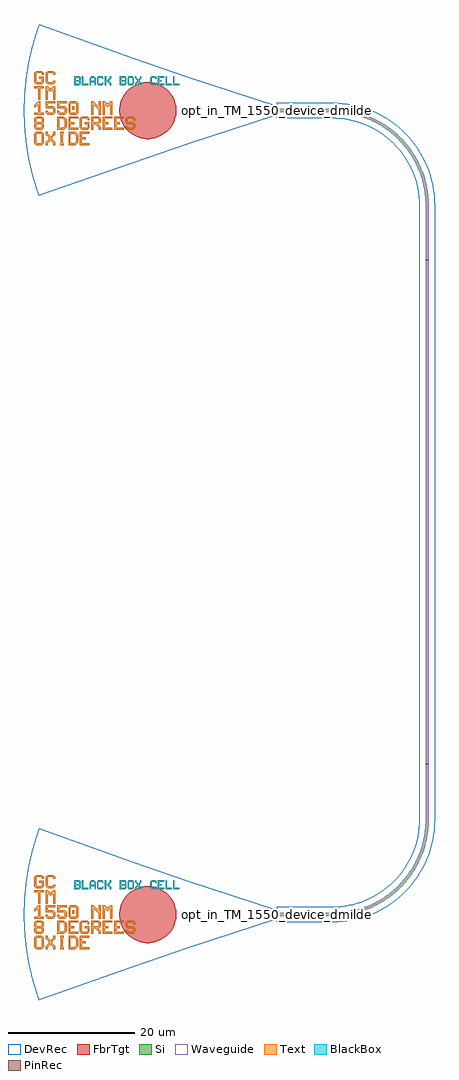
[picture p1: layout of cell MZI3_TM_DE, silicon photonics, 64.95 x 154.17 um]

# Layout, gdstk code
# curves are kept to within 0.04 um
import gdstk
lib = gdstk.Library(unit=1e-6, precision=1e-09)
def R(c, l, rs):  # rectangles x0, y0, x1, y1
    for r in rs: c.add(gdstk.rectangle(r[:2], r[2:], *l))
def P(c, l, *ps):  # polygons
    for p in ps: c.add(gdstk.Polygon(p, *l))
Si = (1, 0)
PinRec = (1, 10)
Waveguide = (1, 99)
Text = (10, 0)
DevRec = (68, 0)
FbrTgt = (81, 0)
BlackBox = (998, 0)

text = lib.new_cell('TEXT')
P(text, BlackBox, [(0,0),(0,1.4),(0.8,1.4),(1,1.2),(0.2,1.2),(0.2,0.8),(0.7,0.8),(0.8,0.9),(0.8,1.1),(0.7,1.2),(1,1.2),(1,0.8),(0.9,0.7),(1,0.6),(0.2,0.6),(0.2,0.2),(0.7,0.2),(0.8,0.3),(0.8,0.5),(0.7,0.6),(1,0.6),(1,0.2),(0.8,0)],
  [(1.2,0),(1.2,1.4),(1.4,1.4),(1.4,0.2),(2.2,0.2),(2.2,0)],
  [(2.4,0),(2.4,1.1),(2.7,1.4),(3.1,1.4),(3.3,1.2),(2.8,1.2),(2.6,1),(2.6,0.7),(3.2,0.7),(3.2,1),(3,1.2),(3.3,1.2),(3.4,1.1),(3.4,0),(3.2,0),(3.2,0.5),(2.6,0.5),(2.6,0)],
  [(3.8,0),(3.6,0.2),(3.6,1.2),(3.8,1.4),(4.4,1.4),(4.6,1.2),(4.6,1),(4.4,1),(4.4,1.1),(4.3,1.2),(3.9,1.2),(3.8,1.1),(3.8,0.3),(3.9,0.2),(4.3,0.2),(4.4,0.3),(4.4,0.4),(4.6,0.4),(4.6,0.2),(4.4,0)],
  [(4.8,0),(4.8,1.4),(5,1.4),(5,0.8),(5.2,0.8),(5.6,1.2),(5.6,1.4),(5.8,1.4),(5.8,1.1),(5.4,0.7),(5.8,0.3),(5.8,0),(5.6,0),(5.6,0.2),(5.2,0.6),(5,0.6),(5,0)],
  [(7.2,0),(7.2,1.4),(8,1.4),(8.2,1.2),(7.4,1.2),(7.4,0.8),(7.9,0.8),(8,0.9),(8,1.1),(7.9,1.2),(8.2,1.2),(8.2,0.8),(8.1,0.7),(8.2,0.6),(7.4,0.6),(7.4,0.2),(7.9,0.2),(8,0.3),(8,0.5),(7.9,0.6),(8.2,0.6),(8.2,0.2),(8,0)],
  [(8.6,0),(8.4,0.2),(8.4,1.2),(8.6,1.4),(9.2,1.4),(9.4,1.2),(9.4,0.7),(9.2,0.7),(9.2,1.1),(9.1,1.2),(8.7,1.2),(8.6,1.1),(8.6,0.3),(8.7,0.2),(9.1,0.2),(9.2,0.3),(9.2,0.7),(9.4,0.7),(9.4,0.2),(9.2,0)],
  [(9.6,0),(9.6,0.3),(9.9,0.6),(9.9,0.8),(9.6,1.1),(9.6,1.4),(9.8,1.4),(9.8,1.2),(10.1,0.9),(10.4,1.2),(10.4,1.4),(10.6,1.4),(10.6,1.1),(10.3,0.8),(10.3,0.6),(10.6,0.3),(10.6,0),(10.4,0),(10.4,0.2),(10.1,0.5),(9.8,0.2),(9.8,0)],
  [(12.2,0),(12,0.2),(12,1.2),(12.2,1.4),(12.8,1.4),(13,1.2),(13,1),(12.8,1),(12.8,1.1),(12.7,1.2),(12.3,1.2),(12.2,1.1),(12.2,0.3),(12.3,0.2),(12.7,0.2),(12.8,0.3),(12.8,0.4),(13,0.4),(13,0.2),(12.8,0)],
  [(13.2,0),(13.2,1.4),(14.2,1.4),(14.2,1.2),(13.4,1.2),(13.4,0.8),(13.8,0.8),(13.8,0.6),(13.4,0.6),(13.4,0.2),(14.2,0.2),(14.2,0)],
  [(14.4,0),(14.4,1.4),(14.6,1.4),(14.6,0.2),(15.4,0.2),(15.4,0)],
  [(15.6,0),(15.6,1.4),(15.8,1.4),(15.8,0.2),(16.6,0.2),(16.6,0)])

gc_tm_1550_8degoxide_bb = lib.new_cell('GC_TM_1550_8degOxide_BB')
R(gc_tm_1550_8degoxide_bb, Text, [(-32.313,0.092,-32.013,0.692)])
P(gc_tm_1550_8degoxide_bb, Text, [(-37.713,1.742),(-37.713,3.542),(-38.313,3.542),(-38.313,3.842),(-36.813,3.842),(-36.813,3.542),(-37.413,3.542),(-37.413,1.742)],
  [(-38.013,-5.458),(-38.313,-5.158),(-38.313,-3.658),(-38.013,-3.358),(-37.113,-3.358),(-36.813,-3.658),(-36.813,-4.408),(-37.113,-4.408),(-37.113,-3.808),(-37.263,-3.658),(-37.863,-3.658),(-38.013,-3.808),(-38.013,-5.008),(-37.863,-5.158),(-37.263,-5.158),(-37.113,-5.008),(-37.113,-4.408),(-36.813,-4.408),(-36.813,-5.158),(-37.113,-5.458)],
  [(-31.113,-5.458),(-31.113,-3.358),(-29.613,-3.358),(-29.613,-3.658),(-30.813,-3.658),(-30.813,-4.258),(-30.213,-4.258),(-30.213,-4.558),(-30.813,-4.558),(-30.813,-5.158),(-29.613,-5.158),(-29.613,-5.458)],
  [(-32.913,-3.058),(-32.913,-0.958),(-31.413,-0.958),(-31.413,-1.258),(-32.613,-1.258),(-32.613,-1.858),(-32.013,-1.858),(-32.013,-2.158),(-32.613,-2.158),(-32.613,-2.758),(-31.413,-2.758),(-31.413,-3.058)],
  [(-27.513,-3.058),(-27.513,-0.958),(-26.013,-0.958),(-26.013,-1.258),(-27.213,-1.258),(-27.213,-1.858),(-26.613,-1.858),(-26.613,-2.158),(-27.213,-2.158),(-27.213,-2.758),(-26.013,-2.758),(-26.013,-3.058)],
  [(-25.713,-3.058),(-25.713,-0.958),(-24.213,-0.958),(-24.213,-1.258),(-25.413,-1.258),(-25.413,-1.858),(-24.813,-1.858),(-24.813,-2.158),(-25.413,-2.158),(-25.413,-2.758),(-24.213,-2.758),(-24.213,-3.058)],
  [(-29.313,-0.658),(-29.313,1.442),(-29.013,1.442),(-28.263,0.692),(-28.113,0.692),(-28.113,1.442),(-27.813,1.442),(-27.813,-0.658),(-28.113,-0.658),(-28.113,0.092),(-28.863,0.842),(-29.013,0.842),(-29.013,-0.658)],
  [(-34.263,-5.458),(-34.263,-5.158),(-34.113,-5.158),(-34.113,-3.658),(-34.263,-3.658),(-34.263,-3.358),(-33.663,-3.358),(-33.663,-3.658),(-33.813,-3.658),(-33.813,-5.158),(-33.663,-5.158),(-33.663,-5.458)],
  [(-36.213,4.142),(-36.513,4.442),(-36.513,5.942),(-36.213,6.242),(-35.313,6.242),(-35.013,5.942),(-35.013,5.642),(-35.313,5.642),(-35.313,5.792),(-35.463,5.942),(-36.063,5.942),(-36.213,5.792),(-36.213,4.592),(-36.063,4.442),(-35.463,4.442),(-35.313,4.592),(-35.313,4.742),(-35.013,4.742),(-35.013,4.442),(-35.313,4.142)],
  [(-27.513,-0.658),(-27.513,1.442),(-27.213,1.442),(-26.913,1.142),(-26.613,1.142),(-26.313,1.442),(-26.013,1.442),(-26.013,-0.658),(-26.313,-0.658),(-26.313,0.842),(-26.463,0.842),(-26.763,0.542),(-27.063,0.842),(-27.213,0.842),(-27.213,-0.658)],
  [(-36.513,1.742),(-36.513,3.842),(-36.213,3.842),(-35.913,3.542),(-35.613,3.542),(-35.313,3.842),(-35.013,3.842),(-35.013,1.742),(-35.313,1.742),(-35.313,3.242),(-35.463,3.242),(-35.763,2.942),(-36.063,3.242),(-36.213,3.242),(-36.213,1.742)],
  [(-32.613,-0.658),(-32.913,-0.358),(-32.913,1.142),(-32.613,1.442),(-31.713,1.442),(-31.413,1.142),(-32.463,1.142),(-32.613,0.992),(-32.613,-0.208),(-32.463,-0.358),(-31.863,-0.358),(-31.713,-0.208),(-31.713,0.992),(-31.863,1.142),(-31.413,1.142),(-31.413,-0.358),(-31.713,-0.658)],
  [(-32.913,-5.458),(-32.913,-3.358),(-31.863,-3.358),(-31.563,-3.658),(-32.613,-3.658),(-32.613,-5.158),(-32.013,-5.158),(-31.713,-4.858),(-31.713,-3.958),(-32.013,-3.658),(-31.563,-3.658),(-31.413,-3.808),(-31.413,-5.008),(-31.863,-5.458)],
  [(-34.713,-3.058),(-34.713,-0.958),(-33.663,-0.958),(-33.363,-1.258),(-34.413,-1.258),(-34.413,-2.758),(-33.813,-2.758),(-33.513,-2.458),(-33.513,-1.558),(-33.813,-1.258),(-33.363,-1.258),(-33.213,-1.408),(-33.213,-2.608),(-33.663,-3.058)],
  [(-23.613,-3.058),(-23.913,-2.758),(-23.913,-2.458),(-23.613,-2.458),(-23.613,-2.608),(-23.463,-2.758),(-22.863,-2.758),(-22.713,-2.608),(-22.713,-2.308),(-22.863,-2.158),(-23.613,-2.158),(-23.913,-1.858),(-23.913,-1.258),(-23.613,-0.958),(-22.713,-0.958),(-22.413,-1.258),(-22.413,-1.558),(-22.713,-1.558),(-22.713,-1.408),(-22.863,-1.258),(-23.463,-1.258),(-23.613,-1.408),(-23.613,-1.708),(-23.463,-1.858),(-22.713,-1.858),(-22.413,-2.158),(-22.413,-2.758),(-22.713,-3.058)],
  [(-36.213,-0.658),(-36.513,-0.358),(-36.513,-0.058),(-36.213,-0.058),(-36.213,-0.208),(-36.063,-0.358),(-35.463,-0.358),(-35.313,-0.208),(-35.313,0.242),(-35.463,0.392),(-36.513,0.392),(-36.513,1.442),(-35.013,1.442),(-35.013,1.142),(-36.213,1.142),(-36.213,0.692),(-35.313,0.692),(-35.013,0.392),(-35.013,-0.358),(-35.313,-0.658)],
  [(-34.413,-0.658),(-34.713,-0.358),(-34.713,-0.058),(-34.413,-0.058),(-34.413,-0.208),(-34.263,-0.358),(-33.663,-0.358),(-33.513,-0.208),(-33.513,0.242),(-33.663,0.392),(-34.713,0.392),(-34.713,1.442),(-33.213,1.442),(-33.213,1.142),(-34.413,1.142),(-34.413,0.692),(-33.513,0.692),(-33.213,0.392),(-33.213,-0.358),(-33.513,-0.658)],
  [(-38.013,-3.058),(-38.313,-2.758),(-38.313,-2.158),(-38.163,-2.008),(-38.313,-1.858),(-38.313,-1.258),(-38.013,-0.958),(-37.113,-0.958),(-36.813,-1.258),(-37.863,-1.258),(-38.013,-1.408),(-38.013,-1.708),(-37.863,-1.858),(-37.263,-1.858),(-37.113,-1.708),(-37.113,-1.408),(-37.263,-1.258),(-36.813,-1.258),(-36.813,-1.858),(-36.963,-2.008),(-36.813,-2.158),(-37.863,-2.158),(-38.013,-2.308),(-38.013,-2.608),(-37.863,-2.758),(-37.263,-2.758),(-37.113,-2.608),(-37.113,-2.308),(-37.263,-2.158),(-36.813,-2.158),(-36.813,-2.758),(-37.113,-3.058)],
  [(-38.313,-0.658),(-38.313,-0.358),(-37.713,-0.358),(-37.713,0.842),(-37.863,0.842),(-38.163,0.542),(-38.313,0.542),(-38.313,0.842),(-37.713,1.442),(-37.413,1.442),(-37.413,-0.358),(-36.813,-0.358),(-36.813,-0.658)],
  [(-36.513,-5.458),(-36.513,-5.008),(-36.063,-4.558),(-36.063,-4.258),(-36.513,-3.808),(-36.513,-3.358),(-36.213,-3.358),(-36.213,-3.658),(-35.763,-4.108),(-35.313,-3.658),(-35.313,-3.358),(-35.013,-3.358),(-35.013,-3.808),(-35.463,-4.258),(-35.463,-4.558),(-35.013,-5.008),(-35.013,-5.458),(-35.313,-5.458),(-35.313,-5.158),(-35.763,-4.708),(-36.213,-5.158),(-36.213,-5.458)],
  [(-30.813,-3.058),(-31.113,-2.758),(-31.113,-1.258),(-30.813,-0.958),(-29.913,-0.958),(-29.613,-1.258),(-29.613,-1.558),(-29.913,-1.558),(-29.913,-1.408),(-30.063,-1.258),(-30.663,-1.258),(-30.813,-1.408),(-30.813,-2.608),(-30.663,-2.758),(-30.063,-2.758),(-29.913,-2.608),(-29.913,-2.158),(-30.363,-2.158),(-30.363,-1.858),(-29.613,-1.858),(-29.613,-2.758),(-29.913,-3.058)],
  [(-38.013,4.142),(-38.313,4.442),(-38.313,5.942),(-38.013,6.242),(-37.113,6.242),(-36.813,5.942),(-36.813,5.642),(-37.113,5.642),(-37.113,5.792),(-37.263,5.942),(-37.863,5.942),(-38.013,5.792),(-38.013,4.592),(-37.863,4.442),(-37.263,4.442),(-37.113,4.592),(-37.113,5.042),(-37.563,5.042),(-37.563,5.342),(-36.813,5.342),(-36.813,4.442),(-37.113,4.142)],
  [(-29.313,-3.058),(-29.313,-0.958),(-28.113,-0.958),(-27.813,-1.258),(-29.013,-1.258),(-29.013,-1.858),(-28.263,-1.858),(-28.113,-1.708),(-28.113,-1.408),(-28.263,-1.258),(-27.813,-1.258),(-27.813,-1.858),(-28.113,-2.158),(-28.113,-2.308),(-27.813,-2.608),(-27.813,-3.058),(-28.113,-3.058),(-28.113,-2.758),(-28.713,-2.158),(-29.013,-2.158),(-29.013,-3.058)])
P(gc_tm_1550_8degoxide_bb, DevRec, [(-37.607,-13.5),(-38.627,-10.245),(-39.378,-6.832),(-39.647,-5.058),(-39.835,-3.274),(-39.969,0.224),(-39.812,3.541),(-39.331,7.097),(-38.557,10.505),(-37.546,13.669),(-22.8,8.353),(-14.109,5.36),(0,0.75),(0,-0.75),(-14.109,-5.36)])
P(gc_tm_1550_8degoxide_bb, FbrTgt, [(-20.621,-4.5),(-21.495,-4.37),(-22.326,-4.073),(-23.084,-3.619),(-23.738,-3.026),(-24.264,-2.316),(-24.642,-1.518),(-24.857,-0.661),(-24.9,0.221),(-24.77,1.095),(-24.473,1.926),(-24.019,2.684),(-23.426,3.338),(-22.716,3.864),(-21.918,4.242),(-21.061,4.457),(-20.179,4.5),(-19.305,4.37),(-18.474,4.073),(-17.716,3.619),(-17.062,3.026),(-16.536,2.316),(-16.158,1.518),(-15.943,0.661),(-15.9,-0.221),(-16.03,-1.095),(-16.327,-1.926),(-16.781,-2.684),(-17.374,-3.338),(-18.084,-3.864),(-18.882,-4.242),(-19.739,-4.457)])
gc_tm_1550_8degoxide_bb.add(gdstk.FlexPath([(-0.01,0),(0.01,0)], 0.5, ends="flush", simple_path=True, layer=1, datatype=10))  # PinRec
gc_tm_1550_8degoxide_bb.add(gdstk.Reference(text, (-32,4)))
gc_tm_1550_8degoxide_bb.add(gdstk.Label('opt1', (0,0), layer=1, texttype=10))
gc_tm_1550_8degoxide_bb.add(gdstk.Label('Component=GC_TM_1550_8degOxide_BB', (-28,-5), layer=68, texttype=0))

waveguide_6 = lib.new_cell('Waveguide$6')
P(waveguide_6, Si, [(64.775,39.8),(64.767,48.899),(64.649,50.341),(64.39,51.765),(63.83,53.612),(62.918,55.58),(62.422,56.409),(61.727,57.395),(60.455,58.846),(59.004,60.118),(58.018,60.813),(57.189,61.309),(55.446,62.134),(53.609,62.723),(52.189,63.007),(50.508,63.158),(41.295,63.166),(41.295,63.666),(50.524,63.658),(52.016,63.536),(53.488,63.267),(55.397,62.689),(56.319,62.307),(57.433,61.745),(59.109,60.665),(59.891,60.045),(60.809,59.2),(61.654,58.282),(62.274,57.5),(62.975,56.469),(63.474,55.605),(63.916,54.71),(64.383,53.553),(64.755,52.363),(64.982,51.391),(65.175,50.159),(65.267,48.915),(65.275,39.8)])
P(waveguide_6, Waveguide, [(64.775,39.8),(64.767,48.899),(64.649,50.341),(64.39,51.765),(63.83,53.612),(62.918,55.58),(62.422,56.409),(61.727,57.395),(60.455,58.846),(59.004,60.118),(58.018,60.813),(57.189,61.309),(55.446,62.134),(53.609,62.723),(52.189,63.007),(50.508,63.158),(41.295,63.166),(41.295,63.666),(50.524,63.658),(52.016,63.536),(53.488,63.267),(55.397,62.689),(56.319,62.307),(57.433,61.745),(59.109,60.665),(59.891,60.045),(60.809,59.2),(61.654,58.282),(62.274,57.5),(62.975,56.469),(63.474,55.605),(63.916,54.71),(64.383,53.553),(64.755,52.363),(64.982,51.391),(65.175,50.159),(65.267,48.915),(65.275,39.8)])
P(waveguide_6, DevRec, [(63.775,39.8),(63.775,48.414),(63.709,49.764),(63.511,51.098),(63.183,52.407),(62.455,54.295),(61.458,56.055),(60.212,57.65),(58.748,59.045),(57.094,60.21),(55.287,61.119),(53.366,61.754),(52.043,62.018),(50.7,62.149),(41.295,62.166),(41.295,64.666),(50.822,64.647),(52.409,64.49),(53.974,64.178),(56.243,63.429),(58.38,62.354),(60.334,60.977),(61.516,59.907),(62.066,59.328),(63.536,57.445),(64.715,55.363),(65.575,53.133),(65.963,51.586),(66.197,50.008),(66.275,48.418),(66.275,39.8)])
waveguide_6.add(gdstk.FlexPath([(65.025,39.81),(65.025,39.79)], 0.5, ends="flush", simple_path=True, layer=1, datatype=10))  # PinRec
waveguide_6.add(gdstk.FlexPath([(41.305,63.416),(41.285,63.416)], 0.5, ends="flush", simple_path=True, layer=1, datatype=10))  # PinRec
waveguide_6.add(gdstk.Label('opt1', (65.025,39.8), layer=1, texttype=10))
waveguide_6.add(gdstk.Label('opt2', (41.295,63.416), layer=1, texttype=10))
waveguide_6.add(gdstk.Label('Lumerical_INTERCONNECT_library=Design kits/EBeam', (64.925,39.8), layer=68, texttype=0))
waveguide_6.add(gdstk.Label('Component=ebeam_wg_integral_1550', (65.125,39.8), layer=68, texttype=0))
waveguide_6.add(gdstk.Label('cellName=Waveguide', (65.225,39.8), layer=68, texttype=0))
waveguide_6.add(gdstk.Label('Spice_param:wg_length=0.000040903 wg_width=5e-07 points="[[65.025,39.8],[65.025,63.416],[41.295,63.416]]" radius=1.5e-05', (65.025,39.8), layer=68, texttype=0))
waveguide_6.add(gdstk.Label('Length=40.903 (microns)', (64.425,39.8), layer=68, texttype=0))
waveguide_6.add(gdstk.Label('waveguide_type=Strip TM 1550 nm, w=500 nm', (64.825,39.8), layer=68, texttype=0))

waveguide_8 = lib.new_cell('Waveguide$8')
P(waveguide_8, Si, [(41.295,-63.834),(41.295,-63.334),(50.508,-63.326),(52.189,-63.175),(53.609,-62.891),(55.446,-62.302),(57.189,-61.477),(58.018,-60.981),(59.004,-60.286),(60.455,-59.014),(61.727,-57.563),(62.422,-56.577),(62.918,-55.748),(63.743,-54.005),(64.332,-52.168),(64.616,-50.748),(64.767,-49.067),(64.775,-39.8),(65.275,-39.8),(65.267,-49.083),(65.145,-50.575),(64.876,-52.047),(64.298,-53.956),(63.916,-54.878),(63.354,-55.992),(62.274,-57.668),(61.654,-58.45),(60.809,-59.368),(59.891,-60.213),(59.109,-60.833),(57.433,-61.913),(56.319,-62.475),(55.397,-62.857),(53.488,-63.435),(52.016,-63.704),(50.524,-63.826)])
P(waveguide_8, Waveguide, [(41.295,-63.834),(41.295,-63.334),(50.508,-63.326),(52.189,-63.175),(53.609,-62.891),(55.446,-62.302),(57.189,-61.477),(58.018,-60.981),(59.004,-60.286),(60.455,-59.014),(61.727,-57.563),(62.422,-56.577),(62.918,-55.748),(63.743,-54.005),(64.332,-52.168),(64.616,-50.748),(64.767,-49.067),(64.775,-39.8),(65.275,-39.8),(65.267,-49.083),(65.145,-50.575),(64.876,-52.047),(64.298,-53.956),(63.916,-54.878),(63.354,-55.992),(62.274,-57.668),(61.654,-58.45),(60.809,-59.368),(59.891,-60.213),(59.109,-60.833),(57.433,-61.913),(56.319,-62.475),(55.397,-62.857),(53.488,-63.435),(52.016,-63.704),(50.524,-63.826)])
P(waveguide_8, DevRec, [(41.295,-64.834),(41.295,-62.334),(50.023,-62.334),(51.373,-62.268),(52.707,-62.07),(54.657,-61.53),(56.507,-60.71),(58.215,-59.628),(59.748,-58.307),(61.069,-56.774),(62.151,-55.066),(62.971,-53.216),(63.511,-51.266),(63.709,-49.932),(63.775,-48.582),(63.775,-39.8),(66.275,-39.8),(66.256,-49.381),(66.099,-50.968),(65.787,-52.533),(65.325,-54.058),(64.357,-56.244),(63.077,-58.264),(61.516,-60.075),(59.705,-61.636),(57.685,-62.916),(55.499,-63.884),(53.974,-64.346),(52.409,-64.658),(50.822,-64.815)])
waveguide_8.add(gdstk.FlexPath([(41.305,-63.584),(41.285,-63.584)], 0.5, ends="flush", simple_path=True, layer=1, datatype=10))  # PinRec
waveguide_8.add(gdstk.FlexPath([(65.025,-39.81),(65.025,-39.79)], 0.5, ends="flush", simple_path=True, layer=1, datatype=10))  # PinRec
waveguide_8.add(gdstk.Label('opt1', (41.295,-63.584), layer=1, texttype=10))
waveguide_8.add(gdstk.Label('opt2', (65.025,-39.8), layer=1, texttype=10))
waveguide_8.add(gdstk.Label('Lumerical_INTERCONNECT_library=Design kits/EBeam', (41.295,-63.684), layer=68, texttype=0))
waveguide_8.add(gdstk.Label('Component=ebeam_wg_integral_1550', (41.295,-63.484), layer=68, texttype=0))
waveguide_8.add(gdstk.Label('cellName=Waveguide', (41.295,-63.384), layer=68, texttype=0))
waveguide_8.add(gdstk.Label('Spice_param:wg_length=0.000041071 wg_width=5e-07 points="[[41.295,-63.584],[65.025,-63.584],[65.025,-39.8]]" radius=1.5e-05', (41.295,-63.584), layer=68, texttype=0))
waveguide_8.add(gdstk.Label('Length=41.071 (microns)', (41.295,-64.184), layer=68, texttype=0))
waveguide_8.add(gdstk.Label('waveguide_type=Strip TM 1550 nm, w=500 nm', (41.295,-63.784), layer=68, texttype=0))

waveguide_33 = lib.new_cell('Waveguide$33')
R(waveguide_33, Si, [(64.775,-39.8,65.275,39.8)])
R(waveguide_33, Waveguide, [(64.775,-39.8,65.275,39.8)])
R(waveguide_33, DevRec, [(63.775,-39.8,66.275,39.8)])
waveguide_33.add(gdstk.FlexPath([(65.025,-39.79),(65.025,-39.81)], 0.5, ends="flush", simple_path=True, layer=1, datatype=10))  # PinRec
waveguide_33.add(gdstk.FlexPath([(65.025,39.79),(65.025,39.81)], 0.5, ends="flush", simple_path=True, layer=1, datatype=10))  # PinRec
waveguide_33.add(gdstk.Label('opt1', (65.025,-39.8), layer=1, texttype=10))
waveguide_33.add(gdstk.Label('opt2', (65.025,39.8), layer=1, texttype=10))
waveguide_33.add(gdstk.Label('Lumerical_INTERCONNECT_library=Design kits/EBeam', (64.925,-39.8), layer=68, texttype=0))
waveguide_33.add(gdstk.Label('Component=ebeam_wg_integral_1550', (65.125,-39.8), layer=68, texttype=0))
waveguide_33.add(gdstk.Label('cellName=Waveguide', (65.225,-39.8), layer=68, texttype=0))
waveguide_33.add(gdstk.Label('Spice_param:wg_length=0.000079600 wg_width=5e-07 points="[[65.025,-39.8],[65.025,39.8]]" radius=1.5e-05', (65.025,-39.8), layer=68, texttype=0))
waveguide_33.add(gdstk.Label('Length=79.600 (microns)', (64.425,-39.8), layer=68, texttype=0))
waveguide_33.add(gdstk.Label('waveguide_type=Strip TM 1550 nm, w=500 nm', (64.825,-39.8), layer=68, texttype=0))

mzi3_tm_de = lib.new_cell('MZI3_TM_DE')
mzi3_tm_de.add(gdstk.Reference(gc_tm_1550_8degoxide_bb, (41.295,-63.584)))
mzi3_tm_de.add(gdstk.Reference(gc_tm_1550_8degoxide_bb, (41.295,63.416)))
mzi3_tm_de.add(gdstk.Reference(waveguide_6, (0,0)))
mzi3_tm_de.add(gdstk.Reference(waveguide_8, (0,0)))
mzi3_tm_de.add(gdstk.Reference(waveguide_33, (0,0)))
mzi3_tm_de.add(gdstk.Label('opt_in_TM_1550_device_dmildenb_MZI35DE-U', (41.296,63.415), layer=10, texttype=0))
mzi3_tm_de.add(gdstk.Label('opt_in_TM_1550_device_dmildenb_MZI35DE-L', (41.285,-63.584), layer=10, texttype=0))

lib.write_gds('MZI3_TM_DE.gds')
